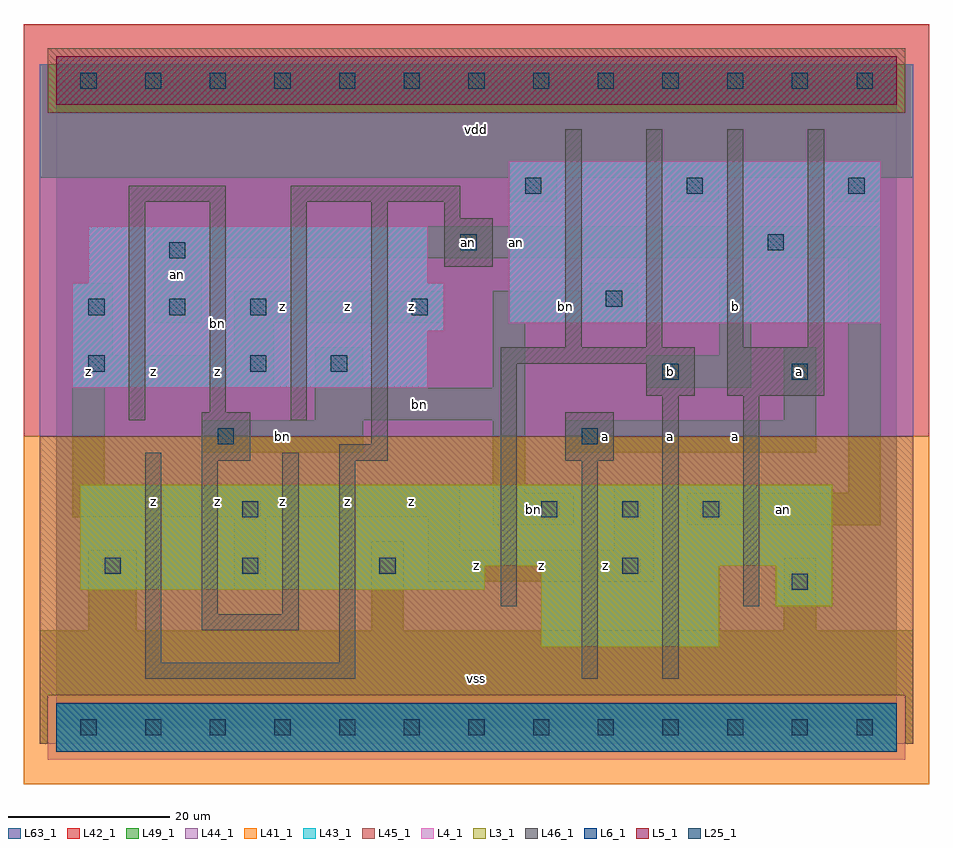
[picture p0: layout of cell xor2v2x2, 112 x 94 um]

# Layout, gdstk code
import gdstk
lib = gdstk.Library(unit=1e-6, precision=1e-09)
def R(c, l, rs):  # rectangles x0, y0, x1, y1
    for r in rs: c.add(gdstk.rectangle(r[:2], r[2:], *l))
def A(c, l, x, y, w, h, nx, ny, dx, dy):  # array of equal rectangles
    R(c, l, [(x+i*dx, y+j*dy, x+i*dx+w, y+j*dy+h) for i in range(nx) for j in range(ny)])
L3_1 = (3, 1)
L4_1 = (4, 1)
L5_1 = (5, 1)
L6_1 = (6, 1)
L25_1 = (25, 1)
L41_1 = (41, 1)
L42_1 = (42, 1)
L43_1 = (43, 1)
L44_1 = (44, 1)
L45_1 = (45, 1)
L46_1 = (46, 1)
L49_1 = (49, 1)
L63_1 = (63, 1)

xor2v2x2 = lib.new_cell('xor2v2x2')
R(xor2v2x2, L3_1, [(60,10,82,20), (89,15,96,20), (3,17,53,20), (3,20,96,30)])
R(xor2v2x2, L4_1, [(2,42,46,49), (2,49,48,55), (56,50,102,70), (4,55,46,62)])
R(xor2v2x2, L5_1, [(0,77,104,83)])
R(xor2v2x2, L6_1, [(0,-3,104,3), (0,-3,104,3)])
A(xor2v2x2, L25_1, 3, -1, 2, 2, 13, 2, 8, 80)
A(xor2v2x2, L25_1, 6, 19, 2, 2, 3, 1, 17, 0)
A(xor2v2x2, L25_1, 60, 26, 2, 2, 3, 1, 10, 0)
A(xor2v2x2, L25_1, 4, 51, 2, 2, 3, 1, 10, 0)
A(xor2v2x2, L25_1, 58, 66, 2, 2, 3, 1, 20, 0)
R(xor2v2x2, L25_1, [(91,17,93,19), (70,19,72,21), (23,26,25,28), (20,35,22,37), (65,35,67,37), (75,43,77,45), (91,43,93,45), (4,44,6,46), (24,44,26,46), (34,44,36,46), (44,51,46,53), (68,52,70,54), (14,58,16,60), (50,59,52,61), (88,59,90,61)])
R(xor2v2x2, L41_1, [(-4,-7,108,36)])
R(xor2v2x2, L42_1, [(-4,36,108,87)])
R(xor2v2x2, L43_1, [(0,-3,104,3), (60,10,82,20), (89,15,96,20), (3,17,53,20), (3,20,96,30), (2,42,46,49), (2,49,48,55), (56,50,102,70), (4,55,46,62), (0,77,104,83)])
R(xor2v2x2, L44_1, [(-1,-4,105,4), (-2,36,106,76), (-2,76,-1,82), (105,76,106,82)])
R(xor2v2x2, L45_1, [(-2,-2,-1,4), (105,-2,106,4), (-2,4,106,36), (-1,76,105,84)])
A(xor2v2x2, L46_1, 63, 47, 2, 27, 4, 1, 10, 0)
R(xor2v2x2, L46_1, [(11,6,37,8), (65,6,67,33), (75,6,77,41), (11,8,13,34), (35,8,37,33), (18,12,30,14), (18,14,20,33), (28,14,30,34), (55,15,57,45), (85,15,87,41), (18,33,24,39), (35,33,41,35), (63,33,69,39), (39,35,41,65), (9,38,11,65), (29,38,31,65), (19,39,21,65), (73,41,79,45), (83,41,95,47), (55,45,79,47), (48,57,54,63), (48,63,50,65), (9,65,21,67), (29,65,50,67)])
A(xor2v2x2, L49_1, 56, 65, 6, 3, 3, 1, 20, 0)
R(xor2v2x2, L49_1, [(-2,-2,106,12), (4,12,10,22), (39,12,43,23), (90,12,94,21), (22,17,26,26), (46,18,74,22), (46,22,50,26), (69,22,74,30), (54,25,64,29), (78,25,102,29), (2,26,50,30), (54,29,58,38), (98,29,102,58), (2,30,6,42), (18,34,38,38), (63,34,94,38), (32,38,58,42), (90,38,94,47), (2,42,27,46), (32,42,38,47), (54,42,58,50), (73,42,86,46), (2,46,7,55), (22,46,27,50), (82,46,86,55), (12,50,18,58), (22,50,48,54), (54,50,72,54), (66,54,72,55), (12,58,102,62), (-2,68,106,82)])
R(xor2v2x2, L63_1, [(0,0,104,80)])
xor2v2x2.add(gdstk.Label('bn', (20,50), layer=46, texttype=1))
xor2v2x2.add(gdstk.Label('an', (51,60), layer=49, texttype=1))
xor2v2x2.add(gdstk.Label('z', (12,28), layer=49, texttype=1))
xor2v2x2.add(gdstk.Label('z', (4,44), layer=49, texttype=1))
xor2v2x2.add(gdstk.Label('z', (12,44), layer=49, texttype=1))
xor2v2x2.add(gdstk.Label('an', (15,56), layer=49, texttype=1))
xor2v2x2.add(gdstk.Label('z', (20,28), layer=49, texttype=1))
xor2v2x2.add(gdstk.Label('z', (28,28), layer=49, texttype=1))
xor2v2x2.add(gdstk.Label('z', (36,28), layer=49, texttype=1))
xor2v2x2.add(gdstk.Label('z', (20,44), layer=49, texttype=1))
xor2v2x2.add(gdstk.Label('bn', (28,36), layer=49, texttype=1))
xor2v2x2.add(gdstk.Label('z', (28,52), layer=49, texttype=1))
xor2v2x2.add(gdstk.Label('z', (36,52), layer=49, texttype=1))
xor2v2x2.add(gdstk.Label('vss', (52,6), layer=49, texttype=1))
xor2v2x2.add(gdstk.Label('z', (44,28), layer=49, texttype=1))
xor2v2x2.add(gdstk.Label('z', (60,20), layer=49, texttype=1))
xor2v2x2.add(gdstk.Label('z', (52,20), layer=49, texttype=1))
xor2v2x2.add(gdstk.Label('bn', (45,40), layer=49, texttype=1))
xor2v2x2.add(gdstk.Label('z', (44,52), layer=49, texttype=1))
xor2v2x2.add(gdstk.Label('vdd', (52,74), layer=49, texttype=1))
xor2v2x2.add(gdstk.Label('bn', (59,27), layer=49, texttype=1))
xor2v2x2.add(gdstk.Label('z', (68,20), layer=49, texttype=1))
xor2v2x2.add(gdstk.Label('a', (76,36), layer=49, texttype=1))
xor2v2x2.add(gdstk.Label('a', (68,36), layer=49, texttype=1))
xor2v2x2.add(gdstk.Label('b', (76,44), layer=49, texttype=1))
xor2v2x2.add(gdstk.Label('bn', (63,52), layer=49, texttype=1))
xor2v2x2.add(gdstk.Label('an', (90,27), layer=49, texttype=1))
xor2v2x2.add(gdstk.Label('a', (84,36), layer=49, texttype=1))
xor2v2x2.add(gdstk.Label('a', (92,44), layer=49, texttype=1))
xor2v2x2.add(gdstk.Label('b', (84,52), layer=49, texttype=1))
xor2v2x2.add(gdstk.Label('an', (57,60), layer=49, texttype=1))

lib.write_gds('xor2v2x2.gds')
